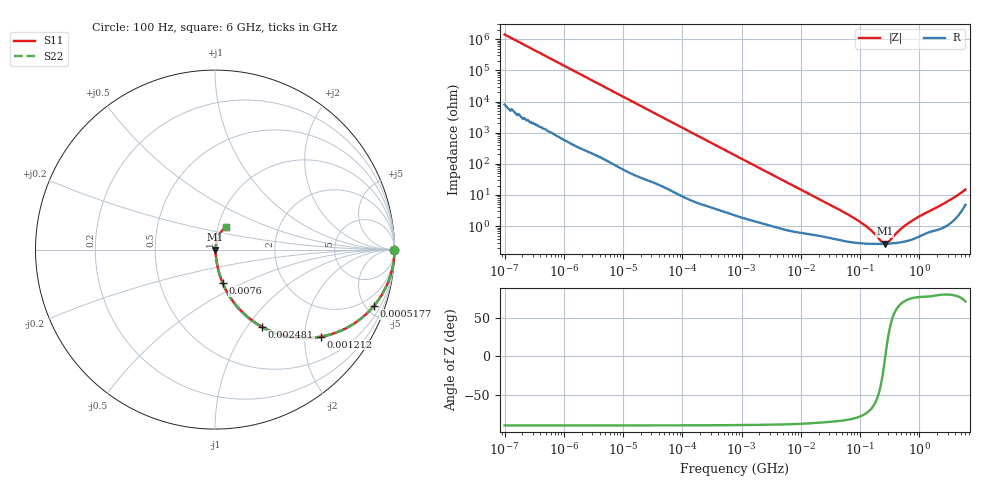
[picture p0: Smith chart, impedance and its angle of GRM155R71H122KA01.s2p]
!Murata Part Number: GRM155R71H122KA01
!These Parameters are Measured in Series Mode Connection
!Data Generated on Mar 30, 2021
!  o--ll--o
!Port1  Port2
!  o------o
!Operation Temp=25[degC], DC Bias Voltage=0[V]
!Freq. Start=100[Hz] Stop=6[GHz] 401[Steps]
# Hz S RI R 50
!Freq.(Hz) S11(Real) S11(Imag) S21(Real) S21(Imag) S12(Real) S12(Imag) S22(Real) S22(Imag)
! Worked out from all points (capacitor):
!   401 points, 100 Hz to 6 GHz, reference 50 ohm
!   read as one part in series: C = 1.12 nF near 109 Hz
!   lowest |Z| = 274 mohm at 261.2 MHz (marker M1)
!   series resonance near 266.8 MHz, so ESL is about 320 pH
!   S11 on the Smith chart (normalised r, x): 100 Hz: open; 517.7 kHz: 1.06, -5.61; 1.212 MHz: 1.03, -2.41; 2.481 MHz: 1.02, -1.18; 7.6 MHz: 1.01, -0.39; 6 GHz: 1.10, +0.28
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100  1 -7.06e-05  4e-07 7.06e-05  4e-07 7.06e-05  1 -7.06e-05
150  1 -0.000106  5e-07 0.000106  5e-07 0.000106  1 -0.000106
2008  1 -0.00141  7.9e-06 0.00141  7.9e-06 0.00141  1 -0.00141
40335  0.999 -0.028  0.000952 0.028  0.000952 0.028  0.999 -0.028
169018  0.9858 -0.1152  0.0142 0.1152  0.0142 0.1152  0.9858 -0.1152
517687  0.8848 -0.3141  0.1152 0.3141  0.1152 0.3141  0.8848 -0.3141
774597  0.7768 -0.4106  0.2233 0.4106  0.2233 0.4106  0.7768 -0.4106
1212075  0.5908 -0.4847  0.4092 0.4847  0.4092 0.4847  0.5908 -0.4847
1734173  0.4175 -0.4849  0.5825 0.4849  0.5825 0.4849  0.4175 -0.4849
2481164  0.2635 -0.4309  0.7365 0.4309  0.7365 0.4309  0.2635 -0.4309
4060267  0.1226 -0.316  0.8774 0.316  0.8774 0.316  0.1226 -0.316
7599586  0.0426 -0.1856  0.9574 0.1856  0.9574 0.1856  0.0426 -0.1856
1.555665e7  0.0143 -0.0943  0.9857 0.0943  0.9857 0.0943  0.0143 -0.0943
9.753859e7  0.00304 -0.0138  0.997 0.0138  0.997 0.0138  0.00304 -0.0138
1.459435e8  0.00277 -0.00751  0.9972 0.00751  0.9972 0.00751  0.00277 -0.00751
2.283698e8  0.0027 -0.00183  0.9973 0.00183  0.9973 0.00183  0.0027 -0.00183
2.61201e8  0.00272 -0.000244  0.9973 0.000244  0.9973 0.000244  0.00272 -0.000244
3.124326e8  0.00277 0.00187  0.9972 -0.00187  0.9972 -0.00187  0.00277 0.00187
4.674818e8  0.00304 0.00693  0.997 -0.00693  0.997 -0.00693  0.00304 0.00693
6.994765e8  0.00373 0.013  0.9963 -0.013  0.9963 -0.013  0.00373 0.013
2.450438e9  0.0109 0.0484  0.9891 -0.0484  0.9891 -0.0484  0.0109 0.0484
6e9  0.0636 0.1272  0.9364 -0.1272  0.9364 -0.1272  0.0636 0.1272
